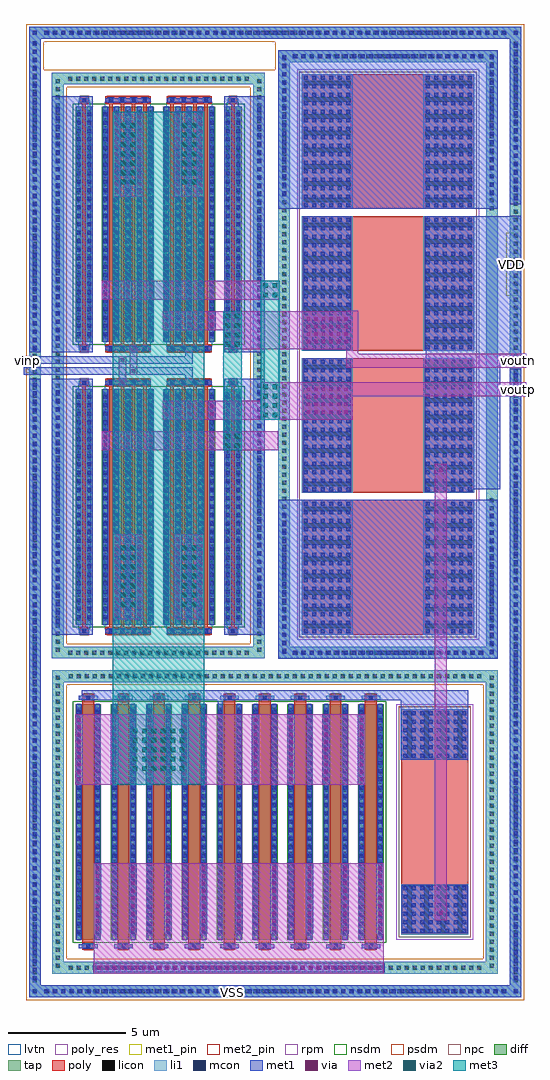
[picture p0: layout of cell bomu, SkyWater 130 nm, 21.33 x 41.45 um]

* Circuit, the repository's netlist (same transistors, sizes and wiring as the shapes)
** sch_path: /foss/designs/BoMu-tt-sky130a/ip/bomu.sch
.subckt bomu vinp vinn voutp voutn VDD VSS
*.ipin vinp
*.ipin vinn
*.opin voutn
*.opin voutp
*.iopin VDD
*.iopin VSS
XRD1 voutn VDD VSS sky130_fd_pr__res_high_po_5p73 L=3.17 mult=1
XRD2 voutp VDD VSS sky130_fd_pr__res_high_po_5p73 L=3.17 mult=1
XM1 voutn vinp vtail VSS sky130_fd_pr__nfet_01v8_lvt L=0.15 W=80 nf=8 ad=0 as=0 pd=0 ps=0 nrd=0 nrs=0 sa=0 sb=0 sd=0 mult=1
XM2 voutp vinn vtail VSS sky130_fd_pr__nfet_01v8_lvt L=0.15 W=80 nf=8 ad=0 as=0 pd=0 ps=0 nrd=0 nrs=0 sa=0 sb=0 sd=0 mult=1
XRref nbias VDD VSS sky130_fd_pr__res_high_po_2p85 L=5.41 mult=1
XM3 vtail nbias VSS VSS sky130_fd_pr__nfet_01v8 L=0.5 W=80 nf=8 ad=0 as=0 pd=0 ps=0 nrd=0 nrs=0 sa=0 sb=0 sd=0 mult=1
XM4 nbias nbias VSS VSS sky130_fd_pr__nfet_01v8 L=0.5 W=10 nf=1 ad=0 as=0 pd=0 ps=0 nrd=0 nrs=0 sa=0 sb=0 sd=0 mult=1
XRdum1 VSS VSS VSS sky130_fd_pr__res_high_po_5p73 L=3.17 mult=1
XRdum2 VSS VSS VSS sky130_fd_pr__res_high_po_5p73 L=3.17 mult=1
XMdum VSS VSS VSS VSS sky130_fd_pr__nfet_01v8_lvt L=0.15 W=10 nf=1 ad=0 as=0 pd=0 ps=0 nrd=0 nrs=0 sa=0 sb=0 sd=0 mult=4 m=4
.ends
.end

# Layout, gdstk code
from math import pi, radians
import gdstk
lib = gdstk.Library(unit=1e-6, precision=1e-09)
def R(c, l, rs):  # rectangles x0, y0, x1, y1
    for r in rs: c.add(gdstk.rectangle(r[:2], r[2:], *l))
def A(c, l, x, y, w, h, nx, ny, dx, dy):  # array of equal rectangles
    R(c, l, [(x+i*dx, y+j*dy, x+i*dx+w, y+j*dy+h) for i in range(nx) for j in range(ny)])
diff = (65, 20)
tap = (65, 44)
poly_res = (66, 13)
poly = (66, 20)
licon = (66, 44)
li1 = (67, 20)
mcon = (67, 44)
met1_pin = (68, 16)
met1 = (68, 20)
via = (68, 44)
met2_pin = (69, 16)
met2 = (69, 20)
via2 = (69, 44)
met3 = (70, 20)
rpm = (86, 20)
nsdm = (93, 44)
psdm = (94, 20)
npc = (95, 20)
lvtn = (125, 44)

sky130_fd_pr__nfet_01v8_ = lib.new_cell('sky130_fd_pr__nfet_01v8_C4LZNB')
R(sky130_fd_pr__nfet_01v8_, diff, [(-0.54,-5,0.54,5)])
R(sky130_fd_pr__nfet_01v8_, poly, [(-0.25,-5.44,0.25,5.44)])
A(sky130_fd_pr__nfet_01v8_, licon, -0.48, -4.845, 0.17, 0.17, 1, 29, 0, 0.34)
A(sky130_fd_pr__nfet_01v8_, licon, 0.31, -4.845, 0.17, 0.17, 1, 29, 0, 0.34)
R(sky130_fd_pr__nfet_01v8_, licon, [(-0.085,-5.36,0.085,-5.19), (-0.085,5.19,0.085,5.36)])
R(sky130_fd_pr__nfet_01v8_, li1, [(-0.395,-5.36,0.395,-5.19), (-0.48,-5.02,-0.31,5.02), (0.31,-5.02,0.48,5.02), (-0.395,5.19,0.395,5.36)])
A(sky130_fd_pr__nfet_01v8_, mcon, -0.48, -4.765, 0.17, 0.17, 1, 27, 0, 0.36)
A(sky130_fd_pr__nfet_01v8_, mcon, 0.31, -4.765, 0.17, 0.17, 1, 27, 0, 0.36)
R(sky130_fd_pr__nfet_01v8_, mcon, [(-0.085,-5.36,0.085,-5.19), (-0.085,5.19,0.085,5.36)])
R(sky130_fd_pr__nfet_01v8_, met1, [(-0.23,-5.39,0.23,-5.36), (-0.395,-5.36,0.395,-5.19), (-0.23,-5.19,0.23,-5.16), (-0.51,-5,-0.28,5), (0.28,-5,0.51,5), (-0.23,5.16,0.23,5.19), (-0.395,5.19,0.395,5.36), (-0.23,5.36,0.23,5.39)])
R(sky130_fd_pr__nfet_01v8_, nsdm, [(-0.665,-5.125,0.665,5.125)])
R(sky130_fd_pr__nfet_01v8_, npc, [(-0.185,-5.46,0.185,-5.09), (-0.185,5.09,0.185,5.46)])
sky130_fd_pr__nfet_01v8_.add(gdstk.Label('D', (-0.395,0), layer=67, texttype=5))
sky130_fd_pr__nfet_01v8_.add(gdstk.Label('S', (0.395,0), layer=67, texttype=5))
sky130_fd_pr__nfet_01v8_.add(gdstk.Label('G', (0,5.275), layer=67, texttype=5))

sky130_fd_pr__res_high_p = lib.new_cell('sky130_fd_pr__res_high_po_2p85_5LU3K3')
R(sky130_fd_pr__res_high_p, poly_res, [(-1.425,-2.715,1.425,2.715)])
R(sky130_fd_pr__res_high_p, poly, [(-1.425,-4.795,1.425,4.795)])
A(sky130_fd_pr__res_high_p, licon, -1.16, -4.715, 0.19, 2, 4, 2, 0.71, 7.43)
R(sky130_fd_pr__res_high_p, li1, [(-1.425,-4.795,1.425,-2.635), (-1.425,2.635,1.425,4.795)])
A(sky130_fd_pr__res_high_p, mcon, -1.345, -4.7, 0.17, 0.17, 8, 6, 0.36, 0.36)
A(sky130_fd_pr__res_high_p, mcon, -1.345, 2.725, 0.17, 0.17, 8, 6, 0.36, 0.36)
R(sky130_fd_pr__res_high_p, met1, [(-1.405,-4.735,1.405,-2.69), (-1.405,2.69,1.405,4.735)])
R(sky130_fd_pr__res_high_p, rpm, [(-1.625,-4.995,1.625,4.995)])
R(sky130_fd_pr__res_high_p, psdm, [(-1.535,-4.905,1.535,4.905)])
R(sky130_fd_pr__res_high_p, npc, [(-1.52,-4.89,1.52,4.89)])
sky130_fd_pr__res_high_p.add(gdstk.Label('R1', (0,4.62), layer=67, texttype=5))
sky130_fd_pr__res_high_p.add(gdstk.Label('R2', (0,-4.62), layer=67, texttype=5))

c_sky130_fd_pr__nfet_01v8_ = lib.new_cell('sky130_fd_pr__nfet_01v8_lvt_3APHRT')
R(c_sky130_fd_pr__nfet_01v8_, diff, [(-1.105,-5,1.105,5)])
A(c_sky130_fd_pr__nfet_01v8_, poly, -0.795, -5.11, 0.15, 10.22, 4, 1, 0.48, 0)
R(c_sky130_fd_pr__nfet_01v8_, poly, [(-0.96,-5.44,0.96,-5.11), (-0.96,5.11,0.96,5.44)])
A(c_sky130_fd_pr__nfet_01v8_, licon, -0.805, -5.36, 0.17, 0.17, 4, 2, 0.48, 10.55)
A(c_sky130_fd_pr__nfet_01v8_, licon, -1.045, -4.845, 0.17, 0.17, 5, 29, 0.48, 0.34)
A(c_sky130_fd_pr__nfet_01v8_, li1, -1.045, -5.02, 0.17, 10.04, 5, 1, 0.48, 0)
R(c_sky130_fd_pr__nfet_01v8_, li1, [(-0.96,-5.36,0.96,-5.19), (-0.96,5.19,0.96,5.36)])
A(c_sky130_fd_pr__nfet_01v8_, mcon, -0.805, -5.36, 0.17, 0.17, 4, 2, 0.48, 10.55)
A(c_sky130_fd_pr__nfet_01v8_, mcon, -1.045, -4.765, 0.17, 0.17, 5, 27, 0.48, 0.36)
A(c_sky130_fd_pr__nfet_01v8_, met1, -0.865, -5.39, 0.29, 0.03, 4, 2, 0.48, 0.2)
A(c_sky130_fd_pr__nfet_01v8_, met1, -1.075, -5, 0.23, 10, 5, 1, 0.48, 0)
A(c_sky130_fd_pr__nfet_01v8_, met1, -0.865, 5.16, 0.29, 0.03, 4, 2, 0.48, 0.2)
R(c_sky130_fd_pr__nfet_01v8_, met1, [(-0.96,-5.36,0.96,-5.19), (-0.96,5.19,0.96,5.36)])
R(c_sky130_fd_pr__nfet_01v8_, nsdm, [(-1.23,-5.125,1.23,5.125)])
R(c_sky130_fd_pr__nfet_01v8_, npc, [(-0.905,-5.46,0.905,-5.09), (-0.905,5.09,0.905,5.46)])
R(c_sky130_fd_pr__nfet_01v8_, lvtn, [(-0.975,-5.18,0.975,5.18)])
c_sky130_fd_pr__nfet_01v8_.add(gdstk.Label('D0', (-0.96,0), layer=67, texttype=5))
c_sky130_fd_pr__nfet_01v8_.add(gdstk.Label('G', (0.72,5.275), layer=67, texttype=5))
c_sky130_fd_pr__nfet_01v8_.add(gdstk.Label('G', (0.24,5.275), layer=67, texttype=5))
c_sky130_fd_pr__nfet_01v8_.add(gdstk.Label('G', (-0.24,5.275), layer=67, texttype=5))
c_sky130_fd_pr__nfet_01v8_.add(gdstk.Label('G', (-0.72,5.275), layer=67, texttype=5))
c_sky130_fd_pr__nfet_01v8_.add(gdstk.Label('S1', (-0.48,0), layer=67, texttype=5))
c_sky130_fd_pr__nfet_01v8_.add(gdstk.Label('D2', (0,0), layer=67, texttype=5))
c_sky130_fd_pr__nfet_01v8_.add(gdstk.Label('S3', (0.48,0), layer=67, texttype=5))

unit_nch = lib.new_cell('unit_nch')
unit_nch.add(gdstk.Reference(c_sky130_fd_pr__nfet_01v8_, (1.105,5.44)))

c_sky130_fd_pr__nfet_01v8__ = lib.new_cell('sky130_fd_pr__nfet_01v8_lvt_SGEXM9')
R(c_sky130_fd_pr__nfet_01v8__, diff, [(-0.365,-5,0.365,5)])
R(c_sky130_fd_pr__nfet_01v8__, poly, [(-0.165,-5.44,0.165,-5.11), (-0.075,-5.11,0.075,5.11), (-0.165,5.11,0.165,5.44)])
A(c_sky130_fd_pr__nfet_01v8__, licon, -0.305, -4.845, 0.17, 0.17, 1, 29, 0, 0.34)
A(c_sky130_fd_pr__nfet_01v8__, licon, 0.135, -4.845, 0.17, 0.17, 1, 29, 0, 0.34)
R(c_sky130_fd_pr__nfet_01v8__, licon, [(-0.085,-5.36,0.085,-5.19), (-0.085,5.19,0.085,5.36)])
R(c_sky130_fd_pr__nfet_01v8__, li1, [(-0.22,-5.36,0.22,-5.19), (-0.305,-5.02,-0.135,5.02), (0.135,-5.02,0.305,5.02), (-0.22,5.19,0.22,5.36)])
A(c_sky130_fd_pr__nfet_01v8__, mcon, -0.305, -4.765, 0.17, 0.17, 1, 27, 0, 0.36)
A(c_sky130_fd_pr__nfet_01v8__, mcon, 0.135, -4.765, 0.17, 0.17, 1, 27, 0, 0.36)
R(c_sky130_fd_pr__nfet_01v8__, mcon, [(-0.085,-5.36,0.085,-5.19), (-0.085,5.19,0.085,5.36)])
R(c_sky130_fd_pr__nfet_01v8__, met1, [(-0.145,-5.39,0.145,-5.36), (-0.22,-5.36,0.22,-5.19), (-0.145,-5.19,0.145,-5.16), (-0.335,-5,-0.105,5), (0.105,-5,0.335,5), (-0.145,5.16,0.145,5.19), (-0.22,5.19,0.22,5.36), (-0.145,5.36,0.145,5.39)])
R(c_sky130_fd_pr__nfet_01v8__, nsdm, [(-0.49,-5.125,0.49,5.125)])
R(c_sky130_fd_pr__nfet_01v8__, npc, [(-0.185,-5.46,0.185,-5.09), (-0.185,5.09,0.185,5.46)])
R(c_sky130_fd_pr__nfet_01v8__, lvtn, [(-0.255,-5.18,0.255,5.18)])
c_sky130_fd_pr__nfet_01v8__.add(gdstk.Label('D', (-0.22,0), layer=67, texttype=5))
c_sky130_fd_pr__nfet_01v8__.add(gdstk.Label('S', (0.22,0), layer=67, texttype=5))
c_sky130_fd_pr__nfet_01v8__.add(gdstk.Label('G', (0,5.275), layer=67, texttype=5))

unit_nch_dum = lib.new_cell('unit_nch_dum')
unit_nch_dum.add(gdstk.Reference(c_sky130_fd_pr__nfet_01v8__, (0.365,5.44)))

c_sky130_fd_pr__res_high_p = lib.new_cell('sky130_fd_pr__res_high_po_5p73_NZ96RV')
R(c_sky130_fd_pr__res_high_p, poly_res, [(-2.865,-1.585,2.865,1.585)])
R(c_sky130_fd_pr__res_high_p, poly, [(-2.865,-3.665,2.865,3.665)])
A(c_sky130_fd_pr__res_high_p, licon, -2.58, -3.585, 0.19, 2, 8, 2, 0.71, 5.17)
R(c_sky130_fd_pr__res_high_p, li1, [(-2.865,-3.665,2.865,-1.505), (-2.865,1.505,2.865,3.665)])
A(c_sky130_fd_pr__res_high_p, mcon, -2.785, -3.57, 0.17, 0.17, 16, 6, 0.36, 0.36)
A(c_sky130_fd_pr__res_high_p, mcon, -2.785, 1.595, 0.17, 0.17, 16, 6, 0.36, 0.36)
R(c_sky130_fd_pr__res_high_p, met1, [(-2.845,-3.605,2.845,-1.56), (-2.845,1.56,2.845,3.605)])
R(c_sky130_fd_pr__res_high_p, rpm, [(-3.065,-3.865,3.065,3.865)])
R(c_sky130_fd_pr__res_high_p, psdm, [(-2.975,-3.775,2.975,3.775)])
R(c_sky130_fd_pr__res_high_p, npc, [(-2.96,-3.76,2.96,3.76)])
c_sky130_fd_pr__res_high_p.add(gdstk.Label('R1', (0,3.49), layer=67, texttype=5))
c_sky130_fd_pr__res_high_p.add(gdstk.Label('R2', (0,-3.49), layer=67, texttype=5))

bomu = lib.new_cell('bomu')
R(bomu, tap, [(1.69,-16,22.6,-15.5), (1.69,-15.5,2.19,24.7), (22.1,-15.5,22.6,24.7), (2.665,-15,21.595,-14.5), (2.665,-14.5,3.165,-2.62), (21.095,-14.5,21.595,-2.62), (2.665,-2.62,21.595,-2.12), (2.66,-1.62,11.71,-1.12), (12.27,-1.62,21.6,-1.12), (2.66,-1.12,3.16,22.76), (11.21,-1.12,11.71,22.76), (12.27,-1.12,12.77,23.7), (21.1,-1.12,21.6,23.7), (2.66,22.76,11.71,23.26), (12.27,23.7,21.6,24.2), (1.69,24.7,22.6,25.2)])
A(bomu, licon, 2.37, -15.835, 0.17, 0.17, 58, 2, 0.34, 40.7)
A(bomu, licon, 1.855, -15.375, 0.17, 0.17, 1, 118, 0, 0.34)
A(bomu, licon, 22.265, -15.375, 0.17, 0.17, 1, 118, 0, 0.34)
A(bomu, licon, 3.375, -14.835, 0.17, 0.17, 52, 2, 0.34, 12.38)
A(bomu, licon, 2.83, -14.765, 0.17, 0.17, 1, 37, 0, 0.34)
A(bomu, licon, 21.26, -14.765, 0.17, 0.17, 1, 37, 0, 0.34)
A(bomu, licon, 3.36, -1.455, 0.17, 0.17, 23, 2, 0.34, 24.38)
A(bomu, licon, 12.94, -1.455, 0.17, 0.17, 24, 2, 0.34, 25.32)
A(bomu, licon, 21.265, -1.44, 0.17, 0.17, 1, 20, 0, 0.34)
A(bomu, licon, 12.435, -1.375, 0.17, 0.17, 1, 75, 0, 0.34)
A(bomu, licon, 2.825, -1.335, 0.17, 0.17, 1, 72, 0, 0.34)
A(bomu, licon, 11.375, -1.335, 0.17, 0.17, 1, 72, 0, 0.34)
A(bomu, licon, 21.265, 17.415, 0.17, 0.17, 1, 20, 0, 0.34)
R(bomu, licon, [(1.855,-15.835,2.025,-15.665), (22.265,-15.835,22.435,-15.665), (1.855,24.865,2.025,25.035), (22.265,24.865,22.435,25.035)])
R(bomu, li1, [(1.69,-16,22.6,-15.5), (1.69,-15.5,2.19,24.7), (22.1,-15.5,22.6,24.7), (2.665,-15,21.595,-14.5), (2.665,-14.5,3.165,-2.62), (21.095,-14.5,21.595,-2.62), (2.665,-2.62,21.595,-2.12), (2.66,-1.62,11.71,-1.12), (12.27,-1.62,21.6,-1.12), (2.66,-1.12,3.16,22.76), (11.21,-1.12,11.71,22.76), (12.27,-1.12,12.77,23.7), (21.1,-1.12,21.6,23.7), (2.66,22.76,11.71,23.26), (12.27,23.7,21.6,24.2), (1.69,24.7,22.6,25.2)])
A(bomu, mcon, 2.34, -15.835, 0.17, 0.17, 55, 2, 0.36, 40.7)
A(bomu, mcon, 1.855, -15.285, 0.17, 0.17, 1, 71, 0, 0.36)
A(bomu, mcon, 22.265, -15.255, 0.17, 0.17, 1, 72, 0, 0.36)
A(bomu, mcon, 4.575, -14.835, 0.17, 0.17, 34, 1, 0.36, 0)
A(bomu, mcon, 12.89, -1.455, 0.17, 0.17, 23, 2, 0.36, 25.32)
A(bomu, mcon, 12.435, -1.41, 0.17, 0.17, 1, 17, 0, 0.36)
A(bomu, mcon, 21.265, -1.41, 0.17, 0.17, 1, 17, 0, 0.36)
A(bomu, mcon, 2.825, -0.12, 0.17, 0.17, 1, 28, 0, 0.36)
A(bomu, mcon, 11.375, -0.12, 0.17, 0.17, 1, 28, 0, 0.36)
A(bomu, mcon, 1.855, 11.455, 0.17, 0.17, 1, 37, 0, 0.36)
A(bomu, mcon, 2.825, 11.88, 0.17, 0.17, 1, 28, 0, 0.36)
A(bomu, mcon, 11.375, 11.88, 0.17, 0.17, 1, 28, 0, 0.36)
A(bomu, mcon, 22.265, 17.845, 0.17, 0.17, 1, 19, 0, 0.36)
A(bomu, mcon, 12.435, 18.06, 0.17, 0.17, 1, 17, 0, 0.36)
A(bomu, mcon, 21.265, 18.06, 0.17, 0.17, 1, 17, 0, 0.36)
R(bomu, mcon, [(1.855,-15.835,2.025,-15.665), (22.265,-15.835,22.435,-15.665), (1.855,24.865,2.025,25.035), (22.265,24.865,22.435,25.035)])
R(bomu, met1_pin, [(9.9,-15.96,10.78,-15.65), (1.54,10.52,1.71,10.68), (1.54,10.97,1.71,11.13), (21.96,13.79,22.44,16.47)])
A(bomu, met1, 4.44, -13.31, 0.32, 3, 9, 1, 1.5, 0)
A(bomu, met1, 3.65, -6.99, 0.32, 3, 4, 1, 1.5, 0)
A(bomu, met1, 11.15, -6.99, 0.32, 3, 4, 1, 1.5, 0)
A(bomu, met1, 4.77, 7.22, 0.32, 0.8, 3, 2, 0.96, 6.4)
A(bomu, met1, 7.37, 8.52, 0.32, 0.8, 3, 2, 0.96, 3.8)
R(bomu, met1, [(1.69,-16,22.6,-15.5), (1.69,-15.5,2.19,10.26), (22.1,-15.5,22.6,10.68), (4.41,-14.94,16.79,-14.56), (19.02,-12.58,19.34,-12.26), (9.695,-7.07,9.925,-3.86), (17.48,-5.93,20.34,-3.4), (9.695,-3.56,9.925,-3.4), (3.925,-3.4,20.34,-3.23), (3.925,-3.23,20.345,-3.17), (3.935,-3.17,20.345,-2.98), (12.27,-1.63,21.6,5.11), (2.66,-0.62,4.395,10.26), (9.985,-0.62,11.71,10.26), (5.25,0.07,5.57,3.63), (6.21,0.07,6.53,3.63), (7.85,0.07,8.17,3.63), (8.81,0.07,9.13,3.63), (18.53,5.56,21.7,11.18), (13.35,8.67,15.35,9.97), (5.49,9.96,5.81,10.28), (8.33,10.12,8.65,10.43), (1.47,10.43,8.65,10.75), (1.47,10.89,8.65,11.21), (18.53,11.18,22.6,17.17), (8.33,11.21,8.65,11.52), (5.97,11.36,6.29,11.68), (1.69,11.38,2.19,24.7), (2.66,11.38,4.395,22.26), (9.985,11.38,11.71,22.26), (13.355,11.67,15.355,12.97), (22.1,17.17,22.6,17.18), (12.27,17.47,21.6,24.2), (22.1,17.68,22.6,24.7), (5.25,18.01,5.57,21.57), (6.21,18.01,6.53,21.57), (7.85,18.01,8.17,21.57), (8.81,18.01,9.13,21.57), (1.69,24.7,22.6,25.2)])
A(bomu, via, 4.605, -14.825, 0.15, 0.15, 38, 1, 0.32, 0)
A(bomu, via, 4.525, -13.165, 0.15, 0.15, 9, 9, 1.5, 0.32)
A(bomu, via, 3.735, -6.845, 0.15, 0.15, 4, 9, 1.5, 0.32)
A(bomu, via, 11.235, -6.845, 0.15, 0.15, 4, 9, 1.5, 0.32)
A(bomu, via, 5.335, 0.175, 0.15, 0.15, 1, 11, 0, 0.32)
A(bomu, via, 6.295, 0.175, 0.15, 0.15, 1, 11, 0, 0.32)
A(bomu, via, 7.935, 0.175, 0.15, 0.15, 1, 11, 0, 0.32)
A(bomu, via, 8.895, 0.175, 0.15, 0.15, 1, 11, 0, 0.32)
A(bomu, via, 4.855, 7.385, 0.15, 0.15, 3, 2, 0.96, 0.32)
A(bomu, via, 7.455, 8.685, 0.15, 0.15, 3, 2, 0.96, 0.32)
A(bomu, via, 13.475, 8.765, 0.15, 0.15, 6, 4, 0.32, 0.32)
A(bomu, via, 13.48, 11.765, 0.15, 0.15, 6, 4, 0.32, 0.32)
A(bomu, via, 7.455, 12.485, 0.15, 0.15, 3, 2, 0.96, 0.32)
A(bomu, via, 4.855, 13.785, 0.15, 0.15, 3, 2, 0.96, 0.32)
A(bomu, via, 5.335, 18.115, 0.15, 0.15, 1, 11, 0, 0.32)
A(bomu, via, 6.295, 18.115, 0.15, 0.15, 1, 11, 0, 0.32)
A(bomu, via, 7.935, 18.115, 0.15, 0.15, 1, 11, 0, 0.32)
A(bomu, via, 8.895, 18.115, 0.15, 0.15, 1, 11, 0, 0.32)
R(bomu, via, [(19.105,-12.495,19.255,-12.345), (19.105,6.32,19.255,6.47), (5.575,10.045,5.725,10.195), (6.055,10.515,6.205,10.665), (5.575,10.975,5.725,11.125), (6.055,11.445,6.205,11.595)])
R(bomu, met2_pin, [(22.28,9.68,22.64,9.96), (22.28,10.89,22.64,11.17)])
R(bomu, met2, [(4.44,-15,16.76,-10.31), (18.93,-12.73,19.43,6.64), (3.65,-6.99,15.97,-4), (3.65,-4,4.88,-3.99), (9.23,-4,15.97,-3.99), (5.245,0.05,6.535,3.65), (7.845,0.05,9.135,3.65), (4.77,7.22,12.27,8.02), (7.37,8.52,15.43,9.32), (11.53,9.32,15.43,9.52), (11.53,9.52,22.8,10.12), (5.49,9.96,5.81,11.21), (5.97,10.43,6.29,11.68), (15.17,10.72,22.8,11.32), (15.17,11.32,15.66,11.52), (9.93,11.52,15.66,12.32), (7.37,12.32,15.66,13.12), (15.17,13.12,15.66,13.14), (4.77,13.62,12.33,14.42), (5.245,17.99,6.535,21.59), (7.845,17.99,9.135,21.63)])
A(bomu, via2, 6.09, -6.395, 0.2, 0.2, 6, 5, 0.4, 0.4)
A(bomu, via2, 5.59, 0.57, 0.2, 0.2, 1, 7, 0, 0.4)
A(bomu, via2, 5.99, 0.57, 0.2, 0.2, 1, 7, 0, 0.4)
A(bomu, via2, 8.19, 0.57, 0.2, 0.2, 1, 7, 0, 0.4)
A(bomu, via2, 8.59, 0.57, 0.2, 0.2, 1, 7, 0, 0.4)
A(bomu, via2, 11.63, 8.62, 0.2, 0.2, 1, 4, 0, 0.4)
A(bomu, via2, 12.03, 8.62, 0.2, 0.2, 1, 4, 0, 0.4)
A(bomu, via2, 10.03, 11.62, 0.2, 0.2, 1, 4, 0, 0.4)
A(bomu, via2, 10.43, 11.62, 0.2, 0.2, 1, 4, 0, 0.4)
A(bomu, via2, 5.59, 18.51, 0.2, 0.2, 1, 7, 0, 0.4)
A(bomu, via2, 5.99, 18.51, 0.2, 0.2, 1, 7, 0, 0.4)
A(bomu, via2, 8.19, 18.51, 0.2, 0.2, 1, 7, 0, 0.4)
A(bomu, via2, 8.59, 18.51, 0.2, 0.2, 1, 7, 0, 0.4)
R(bomu, via2, [(10.03,7.32,10.23,7.52), (10.43,7.32,10.63,7.52), (10.03,7.72,10.23,7.92), (10.43,7.72,10.63,7.92), (11.63,13.72,11.83,13.92), (12.03,13.72,12.23,13.92), (11.63,14.12,11.83,14.32), (12.03,14.12,12.23,14.32)])
R(bomu, met3, [(5.245,-6.99,9.135,21.59), (9.93,7.22,10.73,13.12), (11.53,8.52,12.33,14.42)])
A(bomu, nsdm, 4.87, -13.685, 0.17, 10.25, 8, 1, 1.5, 0)
A(bomu, nsdm, 4.52, -0.305, 0.14, 10.25, 3, 2, 2.6, 12)
A(bomu, psdm, 11.085, -0.73, 2.075, 5.95, 1, 3, 0, 6.03)
A(bomu, psdm, 20.71, -0.73, 2.015, 5.95, 1, 4, 0, 6.03)
A(bomu, psdm, 11.085, 5.22, 11.64, 0.08, 1, 3, 0, 6.03)
R(bomu, psdm, [(1.565,-16.125,22.725,-14.375), (1.565,-14.375,3.29,-2.745), (20.97,-14.375,22.725,-2.745), (1.565,-2.745,22.725,-0.995), (1.565,-0.995,3.285,22.635), (11.085,-0.995,22.725,-0.73), (11.085,17.36,13.16,22.635), (1.565,22.635,13.16,23.31), (1.565,23.31,22.725,23.385), (1.565,23.385,2.315,24.575), (12.145,23.385,22.725,24.575), (1.565,24.575,22.725,25.325)])
A(bomu, npc, 13.175, 5.205, 7.52, 0.11, 1, 3, 0, 6.03)
bomu.add(gdstk.Reference(sky130_fd_pr__nfet_01v8_, (4.205,-8.56)))
bomu.add(gdstk.Reference(sky130_fd_pr__nfet_01v8_, (5.705,-8.56)))
bomu.add(gdstk.Reference(sky130_fd_pr__nfet_01v8_, (7.205,-8.56)))
bomu.add(gdstk.Reference(sky130_fd_pr__nfet_01v8_, (8.705,-8.56)))
bomu.add(gdstk.Reference(sky130_fd_pr__nfet_01v8_, (10.205,-8.56)))
bomu.add(gdstk.Reference(sky130_fd_pr__nfet_01v8_, (11.705,-8.56)))
bomu.add(gdstk.Reference(sky130_fd_pr__nfet_01v8_, (13.205,-8.56)))
bomu.add(gdstk.Reference(sky130_fd_pr__nfet_01v8_, (14.705,-8.56)))
bomu.add(gdstk.Reference(sky130_fd_pr__nfet_01v8_, (16.205,-8.56)))
bomu.add(gdstk.Reference(sky130_fd_pr__res_high_p, (18.92,-8.565)))
bomu.add(gdstk.Reference(unit_nch, (4.785,-0.62)))
bomu.add(gdstk.Reference(unit_nch, (7.385,-0.62)))
bomu.add(gdstk.Reference(unit_nch_dum, (3.665,-0.62)))
bomu.add(gdstk.Reference(unit_nch_dum, (9.985,-0.62)))
bomu.add(gdstk.Reference(c_sky130_fd_pr__res_high_p, (16.935,8.275), rotation=3*pi/2))
bomu.add(gdstk.Reference(c_sky130_fd_pr__res_high_p, (16.935,2.245), rotation=3*pi/2))
bomu.add(gdstk.Reference(unit_nch, (4.785,11.38)))
bomu.add(gdstk.Reference(unit_nch, (7.385,11.38)))
bomu.add(gdstk.Reference(unit_nch_dum, (3.665,11.38)))
bomu.add(gdstk.Reference(unit_nch_dum, (9.985,11.38)))
bomu.add(gdstk.Reference(c_sky130_fd_pr__res_high_p, (16.935,14.305), rotation=3*pi/2))
bomu.add(gdstk.Reference(c_sky130_fd_pr__res_high_p, (16.935,20.335), rotation=3*pi/2))
bomu.add(gdstk.Label('vinp', (1.625,11.05), layer=68, texttype=5))
bomu.add(gdstk.Label('vinn', (1.625,10.6), layer=68, texttype=5))
bomu.add(gdstk.Label('voutn', (22.46,11.03), layer=69, texttype=5))
bomu.add(gdstk.Label('voutp', (22.46,9.82), layer=69, texttype=5))
bomu.add(gdstk.Label('VDD', (22.2,15.13), layer=68, texttype=5))
bomu.add(gdstk.Label('VSS', (10.34,-15.805), layer=68, texttype=5))

lib.write_gds('bomu.gds')
